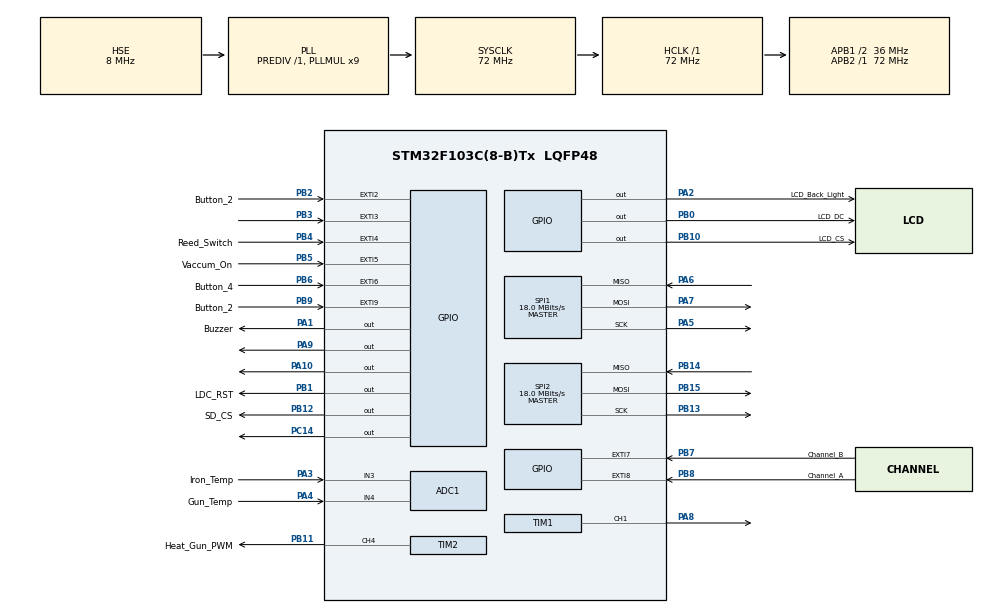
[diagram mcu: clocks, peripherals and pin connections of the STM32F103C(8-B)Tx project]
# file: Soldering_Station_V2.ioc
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ADC1.Channel-3\#ChannelInjectedConversion=ADC_CHANNEL_4
ADC1.Channel-4\#ChannelRegularConversion=ADC_CHANNEL_3
ADC1.ContinuousConvMode=DISABLE
ADC1.EnableInjectedConversion=ENABLE
ADC1.EnableRegularConversion=ENABLE
ADC1.ExternalTrigConv=ADC_SOFTWARE_START
ADC1.InjNumberOfConversion=1
ADC1.InjectedOffset-3\#ChannelInjectedConversion=0
ADC1.InjectedRank-3\#ChannelInjectedConversion=1
ADC1.NbrOfConversionFlag=1
ADC1.Rank-4\#ChannelRegularConversion=1
ADC1.SamplingTime-3\#ChannelInjectedConversion=ADC_SAMPLETIME_13CYCLES_5
ADC1.SamplingTime-4\#ChannelRegularConversion=ADC_SAMPLETIME_28CYCLES_5
ADC1.master=1
Dma.Request0=SPI1_TX
Dma.SPI1_TX.0.Direction=DMA_MEMORY_TO_PERIPH
Dma.SPI1_TX.0.Instance=DMA1_Channel3
Dma.SPI1_TX.0.MemDataAlignment=DMA_MDATAALIGN_BYTE
Dma.SPI1_TX.0.MemInc=DMA_MINC_ENABLE
Dma.SPI1_TX.0.Mode=DMA_NORMAL
Dma.SPI1_TX.0.PeriphDataAlignment=DMA_PDATAALIGN_BYTE
Dma.SPI1_TX.0.PeriphInc=DMA_PINC_DISABLE
Dma.SPI1_TX.0.Priority=DMA_PRIORITY_LOW
FATFS._MAX_SS=4096
FATFS._USE_LFN=1
Mcu.Family=STM32F1
Mcu.Name=STM32F103C(8-B)Tx
Mcu.Package=LQFP48
NVIC.ADC1_2_IRQn=true\:0\:0\:false\:false\:true\:true\:true\:false
NVIC.DMA1_Channel3_IRQn=true\:0\:0\:false\:false\:true\:false\:true\:true
NVIC.EXTI2_IRQn=true\:0\:0\:false\:false\:true\:true\:true\:true
NVIC.EXTI3_IRQn=true\:0\:0\:false\:false\:true\:true\:true\:true
NVIC.EXTI4_IRQn=true\:0\:0\:false\:false\:true\:true\:true\:true
NVIC.EXTI9_5_IRQn=true\:0\:0\:false\:false\:true\:true\:true\:true
NVIC.FLASH_IRQn=true\:0\:0\:false\:false\:true\:true\:true\:false
NVIC.PVD_IRQn=true\:0\:0\:false\:false\:true\:true\:true\:true
NVIC.PriorityGroup=NVIC_PRIORITYGROUP_4
NVIC.RCC_IRQn=true\:0\:0\:false\:false\:true\:true\:false\:false
NVIC.TIM1_CC_IRQn=true\:0\:0\:false\:false\:true\:true\:true\:false
NVIC.TIM2_IRQn=true\:0\:0\:false\:false\:true\:true\:true\:false
NVIC.TIM3_IRQn=true\:0\:0\:false\:false\:true\:true\:true\:true
PA1.GPIO_Label=Buzzer
PA1.Signal=GPIO_Output
PA10.Signal=GPIO_Output
PA13.Mode=Serial_Wire
PA13.Signal=SYS_JTMS-SWDIO
PA14.Mode=Serial_Wire
PA14.Signal=SYS_JTCK-SWCLK
PA2.GPIO_Label=LCD_Back_Light
PA2.Signal=GPIO_Output
PA3.GPIO_Label=Iron_Temp
PA3.Signal=ADCx_IN3
PA4.GPIO_Label=Gun_Temp
PA4.Signal=ADCx_IN4
PA5.Mode=Full_Duplex_Master
PA5.Signal=SPI1_SCK
PA6.Mode=Full_Duplex_Master
PA6.Signal=SPI1_MISO
PA7.Mode=Full_Duplex_Master
PA7.Signal=SPI1_MOSI
PA8.Signal=S_TIM1_CH1
PA9.Signal=GPIO_Output
PB0.GPIO_Label=LCD_DC
PB0.Signal=GPIO_Output
PB1.GPIO_Label=LDC_RST
PB1.Signal=GPIO_Output
PB10.GPIO_Label=LCD_CS
PB10.Signal=GPIO_Output
PB11.GPIO_Label=Heat_Gun_PWM
PB11.Signal=S_TIM2_CH4
PB12.GPIO_Label=SD_CS
PB12.Signal=GPIO_Output
PB13.Mode=Full_Duplex_Master
PB13.Signal=SPI2_SCK
PB14.Mode=Full_Duplex_Master
PB14.Signal=SPI2_MISO
PB15.Mode=Full_Duplex_Master
PB15.Signal=SPI2_MOSI
PB2.GPIO_Label=Button_2
PB2.GPIO_ModeDefaultEXTI=GPIO_MODE_IT_FALLING
PB2.GPIO_PuPd=GPIO_NOPULL
PB2.Signal=GPXTI2
PB3.GPIO_PuPd=GPIO_PULLUP
PB3.Signal=GPXTI3
PB4.GPIO_Label=Reed_Switch
PB4.GPIO_ModeDefaultEXTI=GPIO_MODE_IT_FALLING
PB4.Signal=GPXTI4
PB5.GPIO_Label=Vaccum_On
PB5.GPIO_ModeDefaultEXTI=GPIO_MODE_IT_FALLING
PB5.Signal=GPXTI5
PB6.GPIO_Label=Button_4
PB6.GPIO_ModeDefaultEXTI=GPIO_MODE_IT_FALLING
PB6.Signal=GPXTI6
PB7.GPIO_Label=Channel_B
PB7.GPIO_ModeDefaultEXTI=GPIO_MODE_IT_FALLING
PB7.Signal=GPXTI7
PB8.GPIO_Label=Channel_A
PB8.GPIO_ModeDefaultEXTI=GPIO_MODE_IT_FALLING
PB8.Signal=GPXTI8
PB9.GPIO_Label=Button_2
PB9.GPIO_ModeDefaultEXTI=GPIO_MODE_IT_FALLING
PB9.GPIO_PuPd=GPIO_PULLUP
PB9.Signal=GPXTI9
PC14-OSC32_IN.Signal=GPIO_Output
PD0-OSC_IN.Mode=HSE-External-Oscillator
PD0-OSC_IN.Signal=RCC_OSC_IN
PD1-OSC_OUT.Mode=HSE-External-Oscillator
PD1-OSC_OUT.Signal=RCC_OSC_OUT
ProjectManager.HeapSize=0x200
ProjectManager.StackSize=0x400
ProjectManager.TargetToolchain=CMake
RCC.ADCPresc=RCC_ADCPCLK2_DIV6
RCC.AHBFreq_Value=72000000
RCC.APB1CLKDivider=RCC_HCLK_DIV2
RCC.APB1Freq_Value=36000000
RCC.APB1TimFreq_Value=72000000
RCC.APB2Freq_Value=72000000
RCC.APB2TimFreq_Value=72000000
RCC.HCLKFreq_Value=72000000
RCC.PLLMUL=RCC_PLL_MUL9
RCC.PLLSourceVirtual=RCC_PLLSOURCE_HSE
RCC.SYSCLKFreq_VALUE=72000000
RCC.SYSCLKSource=RCC_SYSCLKSOURCE_PLLCLK
RCC.USBFreq_Value=48000000
RCC.USBPrescaler=RCC_USBCLKSOURCE_PLL_DIV1_5
SH.ADCx_IN3.0=ADC1_IN3,IN3
SH.ADCx_IN4.0=ADC1_IN4,IN4
SH.S_TIM1_CH1.0=TIM1_CH1,PWM Generation1 CH1
SH.S_TIM2_CH4.0=TIM2_CH4,Output Compare4 CH4
SPI1.BaudRatePrescaler=SPI_BAUDRATEPRESCALER_4
SPI1.CalculateBaudRate=18.0 MBits/s
SPI1.Direction=SPI_DIRECTION_2LINES
SPI1.Mode=SPI_MODE_MASTER
SPI1.VirtualType=VM_MASTER
SPI2.BaudRatePrescaler=SPI_BAUDRATEPRESCALER_2
SPI2.CalculateBaudRate=18.0 MBits/s
SPI2.Direction=SPI_DIRECTION_2LINES
SPI2.Mode=SPI_MODE_MASTER
SPI2.VirtualType=VM_MASTER
TIM1.Channel-Output\ Compare2\ No\ Output=TIM_CHANNEL_2
TIM1.Channel-PWM\ Generation1\ CH1=TIM_CHANNEL_1
TIM1.OC2Preload=ENABLE
TIM1.Period=2000-1
TIM1.Prescaler=360-1
TIM1.Pulse-Output\ Compare2\ No\ Output=1950
TIM1.TIM_MasterOutputTrigger=TIM_TRGO_RESET
TIM2.Channel-Output\ Compare4\ CH4=TIM_CHANNEL_4
TIM3.Period=20000 -1 
TIM3.Prescaler=3600-1 
TIM3.TIM_MasterOutputTrigger=TIM_TRGO_UPDATE
VP_FATFS_VS_Generic.Mode=User_defined
VP_TIM1_VS_ClockSourceINT.Mode=Internal
VP_TIM1_VS_no_output2.Mode=Output Compare2 No Output
VP_TIM3_VS_ClockSourceINT.Mode=Internal
board=custom

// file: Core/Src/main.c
/* USER CODE BEGIN Header */
/**
  ******************************************************************************
  * @file           : main.c
  * @brief          : Main program body
  ******************************************************************************
  * @attention
  *
  * Copyright (c) 2026 STMicroelectronics.
  * All rights reserved.
  *
  * This software is licensed under terms that can be found in the LICENSE file
  * in the root directory of this software component.
  * If no LICENSE file comes with this software, it is provided AS-IS.
  *
  ******************************************************************************
  */
/* USER CODE END Header */
#include "main.h"
#include "adc.h"
#include "dma.h"
#include "fatfs.h"
#include "spi.h"
#include "tim.h"
#include "gpio.h"

/* USER CODE BEGIN Includes */

#include "Proj.h"

#include "Core_Include.h"

#include "Application.h"

/* USER CODE END Includes */

/* USER CODE BEGIN PTD */

typedef enum
{
  APP_STATE_INIT = 0,
  APP_STATE_INIT_ERROR,
  APP_STATE_LOOP,
  APP_STATE_LOOP_ERROR,
  APP_STATE_EXCESSIVE_ERROR
} et_app_state;

/* USER CODE END PTD */

/* USER CODE BEGIN PD */

#ifndef NUMBER_OF_CONFIGURATION_RETRIES
  #error "MAIN is not configured. Define NUMBER_OF_CONFIGURATION_RETRIES in the project  \
          configuration file. "
#endif

#ifndef NUMBER_OF_LOOP_RETRIES
  #error "MAIN is not configured. Define NUMBER_OF_LOOP_RETRIES in the project           \
          configuration file. "
#endif

#ifndef MAIN_DEBUG_LEVEL
  #error "Main's debug level is not configured. Define MAIN_DEBUG_LEVEL                  \
          in the project configuration file."
#endif

#if (PROJECT_ENABLE_LOGGER == ENABLED)

    #if MAIN_DEBUG_LEVEL

        DEBUG_LEVEL_REGISTER(MAIN_DEBUG_LEVEL)

    #else

        #warning "No debug level ser for the main"

        DEBUG_LEVEL_REGISTER(DEBUG_LEVEL_D)

    #endif

#else

    MODULE_DEBUG_REGISTER(DEBUG_LEVEL_N, MAIN)

#endif

/* USER CODE END PD */

/* USER CODE BEGIN PV */

/* */
static uint8_t g_numb_confretry = 0;
static uint8_t g_numb_loopretry = 0;

/* Application state variables */
static et_app_state g_state =      APP_STATE_INIT;
static et_app_state g_next_state = APP_STATE_INIT;

/* USER CODE END PV */

void SystemClock_Config(void);

/* USER CODE BEGIN 0 */

static et_RET MAIN_Init(void)
{
  RET_REGISTER(ret);

  while (g_numb_confretry < NUMBER_OF_CONFIGURATION_RETRIES)
  {
    ret = App_Init();

    if (CHECK_RET_ERROR(ret))
    {
      g_numb_confretry++;
      PRINT_D("APP failed to initialize. Retrying... (%d/%d)", g_numb_confretry, NUMBER_OF_CONFIGURATION_RETRIES);
    }

    else
    {
      break;
    }
  }

  return RET_INITIALIZED;
}

static et_RET MAIN_Loop(void)
{
  RET_REGISTER(ret);

  while (g_numb_loopretry < NUMBER_OF_LOOP_RETRIES)
  {
    ret = App_Loop();

    if (CHECK_RET_ERROR(ret))
    {
      g_numb_loopretry++;
      PRINT_D("APP loop failed. Retrying... (%d/%d)", g_numb_loopretry, NUMBER_OF_LOOP_RETRIES);
    }

    else
    {
      return RET_OK;
    }
  }

  return RET_NOT_OK;
}

/* USER CODE END 0 */

int main(void)
{

  /* USER CODE BEGIN 1 */
  RET_REGISTER(ret);
  /* USER CODE END 1 */

  /* MCU Configuration--------------------------------------------------------*/

  /* Reset of all peripherals, Initializes the Flash interface and the Systick. */
  HAL_Init();

  /* Configure the system clock */
  SystemClock_Config();

  /* Initialize all configured peripherals */
  MX_GPIO_Init();
  MX_DMA_Init();
  MX_ADC1_Init();
  MX_TIM2_Init();
  MX_SPI1_Init();
  MX_SPI2_Init();
  MX_FATFS_Init();
  MX_TIM1_Init();
  MX_TIM3_Init();

  /* Infinite loop */
  while (1)
  {

    /* USER CODE BEGIN 3 */
    switch(g_state)
    {
      case APP_STATE_INIT:
        ret = MAIN_Init();

        if (CHECK_RET_ERROR(ret))
        {
          g_next_state = APP_STATE_INIT_ERROR;
          break;
        }

        g_next_state = APP_STATE_LOOP;
        break;

      case APP_STATE_INIT_ERROR:
        g_numb_confretry = 0;

        PRINT_D("APP failed to initialize. Going to error handler... ");

        g_next_state = APP_STATE_EXCESSIVE_ERROR;
        break;

      case APP_STATE_LOOP:
        ret = MAIN_Loop();

        if (CHECK_RET_ERROR(ret))
        {
          g_next_state = APP_STATE_LOOP_ERROR;
          break;
        }

        g_next_state = APP_STATE_LOOP;
        break;

      case APP_STATE_LOOP_ERROR:

        g_numb_loopretry = 0 ;
        PRINT_D("APP loop failed. Going to error handler...");

        g_next_state =  APP_STATE_EXCESSIVE_ERROR;
        break;

      case APP_STATE_EXCESSIVE_ERROR:

        PRINT_D("APP reached excessive error state.");

        while (1)
        {
          /* Infinite loop */
        }
        break;

      default:
        g_next_state = APP_STATE_LOOP_ERROR;

        break;
    }

    /* Encode FSM. */
    g_state = g_next_state;
  }
  /* USER CODE END 3 */
}

void SystemClock_Config(void)
{
  RCC_OscInitTypeDef RCC_OscInitStruct = {0};
  RCC_ClkInitTypeDef RCC_ClkInitStruct = {0};
  RCC_PeriphCLKInitTypeDef PeriphClkInit = {0};

  /** Initializes the RCC Oscillators according to the specified parameters
  * in the RCC_OscInitTypeDef structure.
  */
  RCC_OscInitStruct.OscillatorType = RCC_OSCILLATORTYPE_HSE;
  RCC_OscInitStruct.HSEState = RCC_HSE_ON;
  RCC_OscInitStruct.HSEPredivValue = RCC_HSE_PREDIV_DIV1;
  RCC_OscInitStruct.HSIState = RCC_HSI_ON;
  RCC_OscInitStruct.PLL.PLLState = RCC_PLL_ON;
  RCC_OscInitStruct.PLL.PLLSource = RCC_PLLSOURCE_HSE;
  RCC_OscInitStruct.PLL.PLLMUL = RCC_PLL_MUL9;
  if (HAL_RCC_OscConfig(&RCC_OscInitStruct) != HAL_OK)
  {
    Error_Handler();
  }

  /** Initializes the CPU, AHB and APB buses clocks
  */
  RCC_ClkInitStruct.ClockType = RCC_CLOCKTYPE_HCLK|RCC_CLOCKTYPE_SYSCLK
                              |RCC_CLOCKTYPE_PCLK1|RCC_CLOCKTYPE_PCLK2;
  RCC_ClkInitStruct.SYSCLKSource = RCC_SYSCLKSOURCE_PLLCLK;
  RCC_ClkInitStruct.AHBCLKDivider = RCC_SYSCLK_DIV1;
  RCC_ClkInitStruct.APB1CLKDivider = RCC_HCLK_DIV2;
  RCC_ClkInitStruct.APB2CLKDivider = RCC_HCLK_DIV1;

  if (HAL_RCC_ClockConfig(&RCC_ClkInitStruct, FLASH_LATENCY_2) != HAL_OK)
  {
    Error_Handler();
  }
  PeriphClkInit.PeriphClockSelection = RCC_PERIPHCLK_ADC;
  PeriphClkInit.AdcClockSelection = RCC_ADCPCLK2_DIV6;
  if (HAL_RCCEx_PeriphCLKConfig(&PeriphClkInit) != HAL_OK)
  {
    Error_Handler();
  }
}

void Error_Handler(void)
{
  __disable_irq();
  while (1)
  {
  }
}
